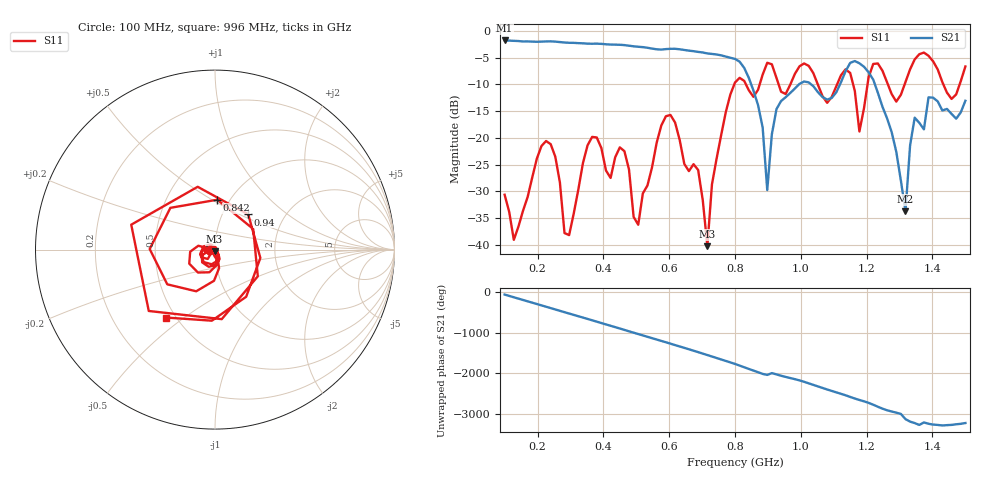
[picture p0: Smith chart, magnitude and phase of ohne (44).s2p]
! NanoVNA-App
! Date: 2025-09-25 14:21:08
! Start: 100MHz Stop: 1,5GHz Points: 101
! S-Parameter data: F S11 S21 S12 S22
# Hz S RI R 50
!  Frequency  S11_Real  S11_Imag  S21_Real  S21_Imag  S12_Real  S12_Imag  S22_Real  S22_Imag
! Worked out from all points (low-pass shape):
!   101 points, 100 MHz to 1.5 GHz, reference 50 ohm
!   highest |S21| = -1.79 dB at 100 MHz (marker M1); lowest = -33.7 dB at 1.318 GHz (marker M2)
!   |S21| within 3 dB of the highest: start of sweep to 771.1 MHz
!   lowest |S11| = -40.3 dB at 716 MHz (marker M3), VSWR 1.02, Z = 49.7 - j0.933 ohm
!   |S11| at or under -10 dB: start of sweep to 797.9 MHz; 833.1 MHz to 875.1 MHz (41.93 MHz wide, 4.91 % of centre); 1.051 GHz to 1.11 GHz (58.82 MHz wide, 5.44 % of centre) (the widest 3 of 7)
!   S12 and S22 are empty: the file has one direction only
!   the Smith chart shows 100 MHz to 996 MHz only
!   S11 on the Smith chart (normalised r, x): 100 MHz: 0.94, -0.01; 842 MHz: 0.88, +0.53; 940 MHz: 1.32, +0.56; 996 MHz: 0.44, -0.43
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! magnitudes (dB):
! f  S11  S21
! 100 MHz  -30.6  -1.8
! 128 MHz  -39.1  -1.9
! 226 MHz  -20.6  -2.0
! 296 MHz  -38.2  -2.2
! 338 MHz  -24.7  -2.3
! 464 MHz  -22.5  -2.7
! 506 MHz  -36.3  -3.0
! 576 MHz  -17.7  -3.5
! 688 MHz  -26.0  -3.9
! 716 MHz  -40.3  -4.2
! 800 MHz  -9.7  -5.2
! 842 MHz  -11.1  -8.8
! 898 MHz  -6.0  -29.8
! 940 MHz  -11.4  -13.1
! 996 MHz  -6.6  -9.9
! 1.038 GHz  -7.9  -10.3
! 1.178 GHz  -18.8  -6.1
! 1.22 GHz  -6.2  -9.1
! 1.276 GHz  -11.8  -18.9
! 1.318 GHz  -9.6  -33.7
! 1.346 GHz  -5.3  -16.2
! 1.5 GHz  -6.7  -13.1
